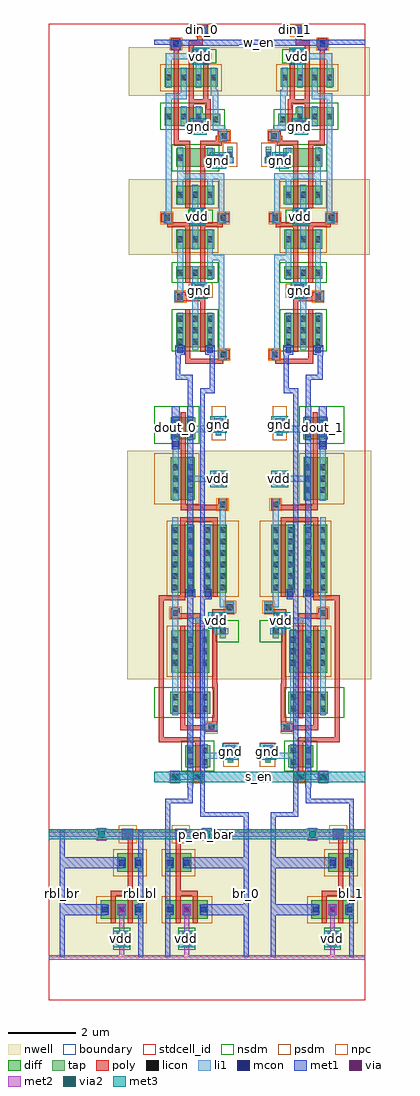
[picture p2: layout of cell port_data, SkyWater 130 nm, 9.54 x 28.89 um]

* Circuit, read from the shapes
.subckt port_data bl_0 bl_1 br_0 br_1 din_0 din_1 dout_0 dout_1 gnd p_en_bar rbl_bl rbl_br s_en vdd w_en
XM1 n1 w_en n2 gnd sky130_fd_pr__nfet_01v8 w=0.55 l=0.15
XM2 n3 n4 n5 gnd sky130_fd_pr__nfet_01v8 w=0.65 l=0.15
XM3 gnd n4 dout_0 gnd sky130_fd_pr__nfet_01v8 w=0.65 l=0.15
XM4 gnd n6 bl_0 gnd sky130_fd_pr__nfet_01v8 w=1 l=0.15
XM5 gnd n2 n7 gnd sky130_fd_pr__nfet_01v8 w=0.36 l=0.15
XM6 n8 w_en n9 gnd sky130_fd_pr__nfet_01v8 w=0.55 l=0.15
XM7 gnd din_0 n1 gnd sky130_fd_pr__nfet_01v8 w=0.55 l=0.15
XM8 gnd s_en n3 gnd sky130_fd_pr__nfet_01v8 w=0.65 l=0.15
XM9 n4 n5 n3 gnd sky130_fd_pr__nfet_01v8 w=0.65 l=0.15
XM10 br_0 n7 gnd gnd sky130_fd_pr__nfet_01v8 w=1 l=0.15
XM11 n6 n9 gnd gnd sky130_fd_pr__nfet_01v8 w=0.36 l=0.15
XM12 gnd n10 n8 gnd sky130_fd_pr__nfet_01v8 w=0.55 l=0.15
XM13 n10 din_0 gnd gnd sky130_fd_pr__nfet_01v8 w=0.36 l=0.15
XM14 gnd din_1 n11 gnd sky130_fd_pr__nfet_01v8 w=0.36 l=0.15
XM15 gnd n12 br_1 gnd sky130_fd_pr__nfet_01v8 w=1 l=0.15
XM16 gnd n13 n14 gnd sky130_fd_pr__nfet_01v8 w=0.36 l=0.15
XM17 n15 n11 gnd gnd sky130_fd_pr__nfet_01v8 w=0.55 l=0.15
XM18 n16 s_en gnd gnd sky130_fd_pr__nfet_01v8 w=0.65 l=0.15
XM19 n16 n17 n18 gnd sky130_fd_pr__nfet_01v8 w=0.65 l=0.15
XM20 n19 din_1 gnd gnd sky130_fd_pr__nfet_01v8 w=0.55 l=0.15
XM21 bl_1 n14 gnd gnd sky130_fd_pr__nfet_01v8 w=1 l=0.15
XM22 n12 n20 gnd gnd sky130_fd_pr__nfet_01v8 w=0.36 l=0.15
XM23 n13 w_en n15 gnd sky130_fd_pr__nfet_01v8 w=0.55 l=0.15
XM24 dout_1 n18 gnd gnd sky130_fd_pr__nfet_01v8 w=0.65 l=0.15
XM25 n17 n18 n16 gnd sky130_fd_pr__nfet_01v8 w=0.65 l=0.15
XM26 n20 w_en n19 gnd sky130_fd_pr__nfet_01v8 w=0.55 l=0.15
XM27 vdd p_en_bar rbl_br vdd sky130_fd_pr__pfet_01v8 w=0.55 l=0.15
XM28 rbl_bl p_en_bar vdd vdd sky130_fd_pr__pfet_01v8 w=0.55 l=0.15
XM29 rbl_bl p_en_bar rbl_br vdd sky130_fd_pr__pfet_01v8 w=0.55 l=0.15
XM30 n2 w_en vdd vdd sky130_fd_pr__pfet_01v8 w=0.55 l=0.15
XM31 vdd p_en_bar bl_0 vdd sky130_fd_pr__pfet_01v8 w=0.55 l=0.15
XM32 br_0 p_en_bar bl_0 vdd sky130_fd_pr__pfet_01v8 w=0.55 l=0.15
XM33 vdd n4 n5 vdd sky130_fd_pr__pfet_01v8 w=1.26 l=0.15
XM34 bl_0 s_en n5 vdd sky130_fd_pr__pfet_01v8 w=2 l=0.15
XM35 vdd n4 dout_0 vdd sky130_fd_pr__pfet_01v8 w=1.26 l=0.15
XM36 vdd n2 n7 vdd sky130_fd_pr__pfet_01v8 w=0.55 l=0.15
XM37 vdd w_en n9 vdd sky130_fd_pr__pfet_01v8 w=0.55 l=0.15
XM38 vdd din_0 n2 vdd sky130_fd_pr__pfet_01v8 w=0.55 l=0.15
XM39 br_0 p_en_bar vdd vdd sky130_fd_pr__pfet_01v8 w=0.55 l=0.15
XM40 n4 n5 vdd vdd sky130_fd_pr__pfet_01v8 w=1.26 l=0.15
XM41 n6 n9 vdd vdd sky130_fd_pr__pfet_01v8 w=0.55 l=0.15
XM42 n9 n10 vdd vdd sky130_fd_pr__pfet_01v8 w=0.55 l=0.15
XM43 n10 din_0 vdd vdd sky130_fd_pr__pfet_01v8 w=0.55 l=0.15
XM44 n4 s_en br_0 vdd sky130_fd_pr__pfet_01v8 w=2 l=0.15
XM45 br_1 s_en n18 vdd sky130_fd_pr__pfet_01v8 w=2 l=0.15
XM46 vdd din_1 n11 vdd sky130_fd_pr__pfet_01v8 w=0.55 l=0.15
XM47 vdd n13 n14 vdd sky130_fd_pr__pfet_01v8 w=0.55 l=0.15
XM48 vdd n11 n13 vdd sky130_fd_pr__pfet_01v8 w=0.55 l=0.15
XM49 vdd n17 n18 vdd sky130_fd_pr__pfet_01v8 w=1.26 l=0.15
XM50 n20 din_1 vdd vdd sky130_fd_pr__pfet_01v8 w=0.55 l=0.15
XM51 n12 n20 vdd vdd sky130_fd_pr__pfet_01v8 w=0.55 l=0.15
XM52 n13 w_en vdd vdd sky130_fd_pr__pfet_01v8 w=0.55 l=0.15
XM53 dout_1 n18 vdd vdd sky130_fd_pr__pfet_01v8 w=1.26 l=0.15
XM54 n17 n18 vdd vdd sky130_fd_pr__pfet_01v8 w=1.26 l=0.15
XM55 n17 s_en bl_1 vdd sky130_fd_pr__pfet_01v8 w=2 l=0.15
XM56 vdd w_en n20 vdd sky130_fd_pr__pfet_01v8 w=0.55 l=0.15
XM57 vdd p_en_bar br_1 vdd sky130_fd_pr__pfet_01v8 w=0.55 l=0.15
XM58 bl_1 p_en_bar vdd vdd sky130_fd_pr__pfet_01v8 w=0.55 l=0.15
XM59 bl_1 p_en_bar br_1 vdd sky130_fd_pr__pfet_01v8 w=0.55 l=0.15
.ends

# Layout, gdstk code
from math import pi, radians
import gdstk
lib = gdstk.Library(unit=1e-6, precision=1e-09)
def R(c, l, rs):  # rectangles x0, y0, x1, y1
    for r in rs: c.add(gdstk.rectangle(r[:2], r[2:], *l))
def A(c, l, x, y, w, h, nx, ny, dx, dy):  # array of equal rectangles
    R(c, l, [(x+i*dx, y+j*dy, x+i*dx+w, y+j*dy+h) for i in range(nx) for j in range(ny)])
nwell = (64, 20)
diff = (65, 20)
tap = (65, 44)
poly = (66, 20)
licon = (66, 44)
li1 = (67, 20)
mcon = (67, 44)
met1 = (68, 20)
via = (68, 44)
met2 = (69, 20)
via2 = (69, 44)
met3 = (70, 20)
stdcell_id = (81, 4)
nsdm = (93, 44)
psdm = (94, 20)
npc = (95, 20)
boundary = (235, 4)

contact_11 = lib.new_cell('contact_11')
R(contact_11, nwell, [(-0.295,-0.255,0.545,0.585)])
R(contact_11, diff, [(0,0.02,0.25,0.31)])
R(contact_11, licon, [(0.04,0.08,0.21,0.25)])
R(contact_11, li1, [(0.04,0,0.21,0.33)])
R(contact_11, stdcell_id, [(-0.295,-0.255,0.545,0.585)])
R(contact_11, psdm, [(-0.125,-0.105,0.375,0.435)])
R(contact_11, boundary, [(-0.295,-0.255,0.545,0.585)])

pmos_m1_w0_550_sli_dli = lib.new_cell('pmos_m1_w0_550_sli_dli')
R(pmos_m1_w0_550_sli_dli, nwell, [(-0.27,-0.27,1.02,0.82)])
R(pmos_m1_w0_550_sli_dli, diff, [(0,0,0.75,0.55)])
R(pmos_m1_w0_550_sli_dli, poly, [(0.3,-0.13,0.45,0.68), (0.3,-0.13,0.45,0.68)])
R(pmos_m1_w0_550_sli_dli, li1, [(0.04,0.11,0.21,0.44), (0.54,0.11,0.71,0.44)])
R(pmos_m1_w0_550_sli_dli, stdcell_id, [(-0.27,-0.27,1.02,0.82)])
R(pmos_m1_w0_550_sli_dli, psdm, [(-0.125,-0.125,0.875,0.675)])
R(pmos_m1_w0_550_sli_dli, boundary, [(-0.27,-0.27,1.02,0.82)])
pmos_m1_w0_550_sli_dli.add(gdstk.Reference(contact_11, (0,0.11)))
pmos_m1_w0_550_sli_dli.add(gdstk.Reference(contact_11, (0.5,0.11)))
pmos_m1_w0_550_sli_dli.add(gdstk.Label('S', (0.125,0.275), layer=67, texttype=16))
pmos_m1_w0_550_sli_dli.add(gdstk.Label('G', (0.375,0.275), layer=66, texttype=16))
pmos_m1_w0_550_sli_dli.add(gdstk.Label('D', (0.625,0.275), layer=67, texttype=16))

contact_12 = lib.new_cell('contact_12')
R(contact_12, poly, [(0,0,0.33,0.33)])
R(contact_12, licon, [(0.08,0.08,0.25,0.25)])
R(contact_12, li1, [(0.08,0,0.25,0.33)])
R(contact_12, stdcell_id, [(-0.1,-0.1,0.43,0.43)])
R(contact_12, npc, [(-0.1,-0.1,0.43,0.43)])
R(contact_12, boundary, [(-0.1,-0.1,0.43,0.43)])

contact_7 = lib.new_cell('contact_7')
R(contact_7, li1, [(0.06,0,0.23,0.33)])
R(contact_7, mcon, [(0.06,0.08,0.23,0.25)])
R(contact_7, met1, [(0,0.05,0.29,0.28)])
R(contact_7, stdcell_id, [(0,0,0.29,0.33)])
R(contact_7, boundary, [(0,0,0.29,0.33)])

contact_8 = lib.new_cell('contact_8')
R(contact_8, met1, [(0,0.03,0.32,0.29)])
R(contact_8, via, [(0.085,0.085,0.235,0.235)])
R(contact_8, met2, [(0.03,0,0.29,0.32)])
R(contact_8, stdcell_id, [(0,0,0.32,0.32)])
R(contact_8, boundary, [(0,0,0.32,0.32)])

contact_13 = lib.new_cell('contact_13')
R(contact_13, nwell, [(-0.295,-0.215,0.545,0.625)])
R(contact_13, tap, [(0,0,0.25,0.41)])
R(contact_13, licon, [(0.04,0.12,0.21,0.29)])
R(contact_13, li1, [(0.04,0.04,0.21,0.37)])
R(contact_13, stdcell_id, [(-0.295,-0.215,0.545,0.625)])
R(contact_13, nsdm, [(-0.125,-0.125,0.375,0.535)])
R(contact_13, boundary, [(-0.295,-0.215,0.545,0.625)])

contact_14 = lib.new_cell('contact_14')
R(contact_14, met1, [(0,0,0.26,0.32)])
R(contact_14, via, [(0.055,0.085,0.205,0.235)])
R(contact_14, met2, [(0,0,0.26,0.32)])
R(contact_14, stdcell_id, [(0,0,0.26,0.32)])
R(contact_14, boundary, [(0,0,0.26,0.32)])

contact_15 = lib.new_cell('contact_15')
R(contact_15, met2, [(0.025,0,0.305,0.37)])
R(contact_15, via2, [(0.065,0.085,0.265,0.285)])
R(contact_15, met3, [(0,0.02,0.33,0.35)])
R(contact_15, stdcell_id, [(0,0,0.33,0.37)])
R(contact_15, boundary, [(0,0,0.33,0.37)])

contact_16 = lib.new_cell('contact_16')
R(contact_16, li1, [(0.03,0,0.2,0.33)])
R(contact_16, mcon, [(0.03,0.08,0.2,0.25)])
R(contact_16, met1, [(0,0.02,0.23,0.31)])
R(contact_16, stdcell_id, [(0,0,0.23,0.33)])
R(contact_16, boundary, [(0,0,0.23,0.33)])

precharge_0 = lib.new_cell('precharge_0')
R(precharge_0, nwell, [(0,0,3.12,3.77)])
R(precharge_0, poly, [(0.64,0.05,0.79,0.2), (0.715,0.05,0.79,0.2), (0.64,0.125,0.79,0.56), (0.64,1.37,0.79,1.95), (0.64,1.8,1.29,1.95)])
R(precharge_0, met1, [(0.63,-0.005,0.95,0.255), (0.33,0,0.47,3.77), (0.33,0,0.47,3.77), (2.65,0,2.79,3.77), (2.65,0,2.79,3.77), (0.4,0.8,0.465,1.13), (0.965,0.8,2.72,1.13), (0.4,2.19,0.465,2.52), (1.465,2.19,2.72,2.52), (0.835,2.195,1.095,2.515)])
R(precharge_0, met2, [(0,0.055,3.12,0.195), (0.895,2.355,1.035,3.77), (0.825,3.1,1.105,3.34), (0,3.7,3.12,3.84)])
R(precharge_0, met3, [(0.72,2.975,1.21,3.465)])
R(precharge_0, stdcell_id, [(0,0,3.12,3.77)])
R(precharge_0, boundary, [(0,0,3.12,3.77)])
precharge_0.add(gdstk.Reference(pmos_m1_w0_550_sli_dli, (0.34,0.69)))
precharge_0.add(gdstk.Reference(pmos_m1_w0_550_sli_dli, (0.34,2.08)))
precharge_0.add(gdstk.Reference(pmos_m1_w0_550_sli_dli, (0.84,2.08)))
precharge_0.add(gdstk.Reference(contact_12, (0.625,-0.04)))
precharge_0.add(gdstk.Reference(contact_7, (0.645,-0.04)))
precharge_0.add(gdstk.Reference(contact_8, (0.63,-0.035)))
precharge_0.add(gdstk.Reference(contact_13, (0.84,3.015)))
precharge_0.add(gdstk.Reference(contact_7, (0.82,3.055)))
precharge_0.add(gdstk.Reference(contact_14, (0.835,3.06)))
precharge_0.add(gdstk.Reference(contact_15, (0.8,3.035)))
precharge_0.add(gdstk.Reference(contact_16, (0.85,2.19)))
precharge_0.add(gdstk.Reference(contact_14, (0.835,2.195)))
precharge_0.add(gdstk.Reference(contact_16, (0.35,0.8)))
precharge_0.add(gdstk.Reference(contact_16, (0.85,0.8)))
precharge_0.add(gdstk.Reference(contact_16, (0.35,2.19)))
precharge_0.add(gdstk.Reference(contact_16, (1.35,2.19)))
precharge_0.add(gdstk.Label('bl', (0.4,1.885), layer=68, texttype=16))
precharge_0.add(gdstk.Label('br', (2.72,1.885), layer=68, texttype=16))
precharge_0.add(gdstk.Label('en_bar', (1.56,0.125), layer=69, texttype=16))
precharge_0.add(gdstk.Label('vdd', (0.965,3.22), layer=70, texttype=16))

contact_9 = lib.new_cell('contact_9')
R(contact_9, met2, [(0.025,0,0.305,0.37)])
R(contact_9, via2, [(0.065,0.085,0.265,0.285)])
R(contact_9, met3, [(0,0.02,0.33,0.35)])
R(contact_9, stdcell_id, [(0,0,0.33,0.37)])
R(contact_9, boundary, [(0,0,0.33,0.37)])

precharge_array = lib.new_cell('precharge_array')
R(precharge_array, met1, [(0.33,0,0.47,3.77), (2.65,0,2.79,3.77), (3.45,0,3.59,3.77), (5.77,0,5.91,3.77), (6.57,0,6.71,3.77), (8.89,0,9.03,3.77)])
R(precharge_array, met3, [(0,-0.025,9.36,0.275), (1.91,2.975,2.4,3.465), (3.84,2.975,4.33,3.465), (8.15,2.975,8.64,3.465)])
R(precharge_array, stdcell_id, [(0,0,9.36,3.77)])
R(precharge_array, boundary, [(0,0,9.36,3.77)])
precharge_array.add(gdstk.Reference(precharge_0, (3.12,0), rotation=pi, x_reflection=True))
precharge_array.add(gdstk.Reference(precharge_0, (3.12,0)))
precharge_array.add(gdstk.Reference(precharge_0, (9.36,0), rotation=pi, x_reflection=True))
precharge_array.add(gdstk.Reference(contact_9, (1.395,-0.06)))
precharge_array.add(gdstk.Reference(contact_9, (4.515,-0.06)))
precharge_array.add(gdstk.Reference(contact_9, (7.635,-0.06)))
precharge_array.add(gdstk.Label('br_2', (6.64,1.885), layer=68, texttype=16))
precharge_array.add(gdstk.Label('br_0', (0.4,1.885), layer=68, texttype=16))
precharge_array.add(gdstk.Label('en_bar', (4.68,0.125), layer=70, texttype=16))
precharge_array.add(gdstk.Label('bl_0', (2.72,1.885), layer=68, texttype=16))
precharge_array.add(gdstk.Label('bl_2', (8.96,1.885), layer=68, texttype=16))
precharge_array.add(gdstk.Label('br_1', (5.84,1.885), layer=68, texttype=16))
precharge_array.add(gdstk.Label('bl_1', (3.52,1.885), layer=68, texttype=16))
precharge_array.add(gdstk.Label('vdd', (2.155,3.22), layer=70, texttype=16))
precharge_array.add(gdstk.Label('vdd', (4.085,3.22), layer=70, texttype=16))
precharge_array.add(gdstk.Label('vdd', (8.395,3.22), layer=70, texttype=16))

sense_amp = lib.new_cell('sense_amp')
R(sense_amp, nwell, [(-0.8,1.32,3.42,2.62), (-0.8,2.62,3.41,8.07)])
R(sense_amp, diff, [(0.49,0.33,1.21,0.98), (0.49,1.51,1.2,2.77), (0.5,3.51,1.19,5.51), (1.46,3.51,2.15,5.51), (0.5,6.62,1.63,7.88), (0.48,8.445,1.65,9.095), (0.92,10.025,1.65,10.675)])
R(sense_amp, tap, [(1.82,0.415,1.99,0.875), (1.94,6.45,2.11,6.86), (2.17,10.085,2.34,10.545)])
R(sense_amp, poly, [(0.78,0.18,0.93,2.92), (1.89,2.74,2.16,2.92), (0.78,2.92,2.16,3.07), (0.77,3.28,1.88,3.43), (0.77,3.43,0.92,5.59), (1.73,3.43,1.88,5.64), (0.13,5.59,0.92,5.74), (0.13,5.74,0.28,9.795), (2.15,5.78,2.37,5.79), (2.1,5.79,2.37,6.01), (0.54,5.95,0.71,5.98), (0.49,5.98,0.76,6.13), (1.71,6.01,2.37,6.16), (0.49,6.13,1.36,6.28), (1.71,6.16,1.86,8.21), (1.21,6.28,1.36,9.225), (0.77,6.49,0.92,9.435), (1.71,8.21,1.88,8.38), (1.725,8.38,1.875,9.14), (1.71,9.14,1.88,9.31), (1.71,9.31,1.86,9.365), (1.53,9.365,1.86,9.435), (0.77,9.435,1.86,9.585), (1.53,9.585,1.86,9.635), (0.13,9.795,1.36,9.945), (1.21,9.945,1.36,10.8), (1.2,10.8,1.37,10.83), (1.15,10.83,1.42,11.1), (1.2,11.1,1.37,11.13)])
A(sense_amp, licon, 0.55, 1.715, 0.17, 0.17, 1, 3, 0, 0.34)
A(sense_amp, licon, 0.99, 1.715, 0.17, 0.17, 1, 3, 0, 0.34)
A(sense_amp, licon, 0.54, 3.575, 0.17, 0.17, 1, 6, 0, 0.34)
A(sense_amp, licon, 0.98, 3.575, 0.17, 0.17, 1, 6, 0, 0.34)
A(sense_amp, licon, 1.5, 3.575, 0.17, 0.17, 1, 6, 0, 0.34)
A(sense_amp, licon, 1.94, 3.575, 0.17, 0.17, 1, 6, 0, 0.34)
A(sense_amp, licon, 0.54, 6.825, 0.17, 0.17, 3, 3, 0.44, 0.34)
A(sense_amp, licon, 0.54, 8.525, 0.17, 0.17, 3, 2, 0.44, 0.34)
R(sense_amp, licon, [(0.55,0.4,0.72,0.57), (0.99,0.4,1.16,0.57), (1.82,0.585,1.99,0.755), (0.55,0.74,0.72,0.91), (0.99,0.74,1.16,0.91), (1.94,2.82,2.11,2.99), (2.15,5.86,2.32,6.03), (0.54,6.03,0.71,6.2), (1.94,6.57,2.11,6.74), (1.61,9.415,1.78,9.585), (0.98,10.09,1.15,10.26), (1.42,10.1,1.59,10.27), (2.17,10.255,2.34,10.425), (0.98,10.43,1.15,10.6), (1.42,10.44,1.59,10.61), (1.2,10.88,1.37,11.05)])
R(sense_amp, li1, [(0.55,0.3,0.72,2.79), (0.98,0.3,1.16,0.58), (1.82,0.415,1.99,0.58), (0.98,0.58,1.99,0.76), (0.98,0.76,1.16,1), (1.82,0.76,1.99,0.835), (0.99,1.49,1.16,2.06), (0.99,2.06,1.99,2.23), (0.99,2.23,1.16,2.79), (1.94,2.74,2.11,5.78), (0.54,3.28,0.71,9.15), (0.98,3.47,1.15,5.62), (1.5,3.49,1.67,5.65), (1.94,5.78,2.37,5.95), (2.1,5.95,2.37,6.11), (0.98,6.26,1.93,6.43), (0.98,6.43,1.15,7.9), (1.76,6.43,1.93,6.57), (1.76,6.57,2.19,6.74), (1.42,6.6,1.59,9.415), (0.98,8.425,1.15,10.71), (1.42,9.415,1.87,9.585), (1.42,10.005,1.59,10.255), (2.17,10.085,2.34,10.255), (1.42,10.255,2.34,10.425), (1.42,10.425,1.59,10.71), (2.17,10.425,2.34,10.505), (0.53,10.88,1.45,11.05), (0.53,11.05,0.7,11.06)])
R(sense_amp, mcon, [(1.82,0.415,1.99,0.585), (0.55,1.04,0.72,1.21), (1.82,2.06,1.99,2.23), (0.98,5.45,1.15,5.62), (1.5,5.48,1.67,5.65), (1.76,6.26,1.93,6.43), (2.17,10.085,2.34,10.255), (0.53,10.885,0.7,11.055)])
R(sense_amp, met1, [(0.52,0,0.75,1.27), (0.52,0,0.75,1.27), (0.98,0,1.15,5.42), (1.36,0,1.5,5.42), (1.79,0.355,2.02,0.725), (1.79,0.355,2.02,0.725), (1.79,1.96,2.02,2.34), (1.79,1.96,2.02,2.34), (0.92,5.42,1.21,5.65), (1.36,5.42,1.7,5.71), (0.98,5.65,1.15,11.28), (0.98,5.65,1.15,11.28), (1.36,5.71,1.5,11.28), (1.36,5.71,1.5,11.28), (1.69,6.17,2,6.51), (1.69,6.17,2,6.51), (2.14,10.025,2.37,10.395), (2.14,10.025,2.37,10.395), (0.47,10.82,0.76,11.12), (0.47,10.82,0.76,11.12)])
R(sense_amp, nsdm, [(0,0,1.335,1.105), (1.815,6.325,2.5,6.985), (0,8.32,1.775,9.22), (0.795,9.9,1.775,10.8)])
R(sense_amp, psdm, [(1.695,0,2.115,1), (0,1.385,1.325,2.895), (0.375,3.385,2.5,5.635), (0.375,6.495,1.755,8.005), (2.045,9.96,2.5,10.67)])
R(sense_amp, npc, [(1.84,2.72,2.21,3.09), (2.05,5.76,2.42,6.13), (0.44,5.93,0.81,6.3), (1.51,9.315,1.88,9.685), (1.1,10.78,1.47,11.15)])
R(sense_amp, boundary, [(0,0,2.5,11.28)])
sense_amp.add(gdstk.Label('vdd', (1.97,6.34), layer=68, texttype=16))
sense_amp.add(gdstk.Label('gnd', (2.25,10.055), layer=68, texttype=16))
sense_amp.add(gdstk.Label('bl', (1.07,11.24), layer=68, texttype=16))
sense_amp.add(gdstk.Label('br', (1.43,11.23), layer=68, texttype=16))
sense_amp.add(gdstk.Label('dout', (0.615,0.14), layer=68, texttype=16))
sense_amp.add(gdstk.Label('gnd', (1.9,0.385), layer=68, texttype=16))
sense_amp.add(gdstk.Label('vdd', (1.89,2), layer=68, texttype=16))
sense_amp.add(gdstk.Label('en', (0.5,10.95), layer=68, texttype=16))
sense_amp.add(gdstk.Label('gnd', (2.255,10.21), layer=68, texttype=16))
sense_amp.add(gdstk.Label('gnd', (1.905,0.54), layer=68, texttype=16))
sense_amp.add(gdstk.Label('bl', (1.065,8.465), layer=68, texttype=16))
sense_amp.add(gdstk.Label('br', (1.43,8.495), layer=68, texttype=16))
sense_amp.add(gdstk.Label('en', (0.615,10.97), layer=68, texttype=16))
sense_amp.add(gdstk.Label('dout', (0.635,0.635), layer=68, texttype=16))
sense_amp.add(gdstk.Label('vdd', (1.845,6.34), layer=68, texttype=16))
sense_amp.add(gdstk.Label('vdd', (1.905,2.15), layer=68, texttype=16))

sense_amp_array = lib.new_cell('sense_amp_array')
R(sense_amp_array, met1, [(0.52,0,0.75,1.27), (4.87,0,5.1,1.27), (0.98,5.65,1.15,11.28), (4.47,5.65,4.64,11.28), (1.36,5.71,1.5,11.28), (4.12,5.71,4.26,11.28)])
R(sense_amp_array, met2, [(1.765,0.42,2.045,0.66), (3.575,0.42,3.855,0.66), (1.765,2.03,2.045,2.27), (3.575,2.03,3.855,2.27), (1.705,6.22,1.985,6.46), (3.635,6.22,3.915,6.46), (2.115,10.09,2.395,10.33), (3.225,10.09,3.505,10.33), (0.475,10.85,0.755,11.09), (4.865,10.85,5.145,11.09)])
R(sense_amp_array, met3, [(1.66,0.295,2.15,0.785), (3.47,0.295,3.96,0.785), (1.66,1.905,2.15,2.395), (3.47,1.905,3.96,2.395), (1.6,6.095,2.09,6.585), (3.53,6.095,4.02,6.585), (2.01,9.965,2.5,10.455), (3.12,9.965,3.61,10.455), (0,10.82,6.24,11.12)])
R(sense_amp_array, stdcell_id, [(0,0,6.24,11.28)])
R(sense_amp_array, boundary, [(0,0,6.24,11.28)])
sense_amp_array.add(gdstk.Reference(sense_amp, (0,0)))
sense_amp_array.add(gdstk.Reference(sense_amp, (5.62,0), rotation=pi, x_reflection=True))
sense_amp_array.add(gdstk.Reference(contact_14, (2.125,10.05)))
sense_amp_array.add(gdstk.Reference(contact_15, (2.09,10.025)))
sense_amp_array.add(gdstk.Reference(contact_14, (1.775,0.38)))
sense_amp_array.add(gdstk.Reference(contact_15, (1.74,0.355)))
sense_amp_array.add(gdstk.Reference(contact_14, (1.715,6.18)))
sense_amp_array.add(gdstk.Reference(contact_15, (1.68,6.155)))
sense_amp_array.add(gdstk.Reference(contact_14, (1.775,1.99)))
sense_amp_array.add(gdstk.Reference(contact_15, (1.74,1.965)))
sense_amp_array.add(gdstk.Reference(contact_14, (3.235,10.05)))
sense_amp_array.add(gdstk.Reference(contact_15, (3.2,10.025)))
sense_amp_array.add(gdstk.Reference(contact_14, (3.585,0.38)))
sense_amp_array.add(gdstk.Reference(contact_15, (3.55,0.355)))
sense_amp_array.add(gdstk.Reference(contact_14, (3.645,6.18)))
sense_amp_array.add(gdstk.Reference(contact_15, (3.61,6.155)))
sense_amp_array.add(gdstk.Reference(contact_14, (3.585,1.99)))
sense_amp_array.add(gdstk.Reference(contact_15, (3.55,1.965)))
sense_amp_array.add(gdstk.Reference(contact_8, (0.455,10.81)))
sense_amp_array.add(gdstk.Reference(contact_9, (0.45,10.785)))
sense_amp_array.add(gdstk.Reference(contact_8, (4.845,10.81)))
sense_amp_array.add(gdstk.Reference(contact_9, (4.84,10.785)))
sense_amp_array.add(gdstk.Label('data_0', (0.635,0.635), layer=68, texttype=16))
sense_amp_array.add(gdstk.Label('gnd', (2.255,10.21), layer=70, texttype=16))
sense_amp_array.add(gdstk.Label('gnd', (3.365,10.21), layer=70, texttype=16))
sense_amp_array.add(gdstk.Label('gnd', (3.715,0.54), layer=70, texttype=16))
sense_amp_array.add(gdstk.Label('gnd', (1.905,0.54), layer=70, texttype=16))
sense_amp_array.add(gdstk.Label('bl_1', (4.555,8.465), layer=68, texttype=16))
sense_amp_array.add(gdstk.Label('bl_0', (1.065,8.465), layer=68, texttype=16))
sense_amp_array.add(gdstk.Label('en', (3.12,10.97), layer=70, texttype=16))
sense_amp_array.add(gdstk.Label('br_1', (4.19,8.495), layer=68, texttype=16))
sense_amp_array.add(gdstk.Label('br_0', (1.43,8.495), layer=68, texttype=16))
sense_amp_array.add(gdstk.Label('vdd', (1.905,2.15), layer=70, texttype=16))
sense_amp_array.add(gdstk.Label('vdd', (1.845,6.34), layer=70, texttype=16))
sense_amp_array.add(gdstk.Label('vdd', (3.715,2.15), layer=70, texttype=16))
sense_amp_array.add(gdstk.Label('vdd', (3.775,6.34), layer=70, texttype=16))
sense_amp_array.add(gdstk.Label('data_1', (4.985,0.635), layer=68, texttype=16))

write_driver = lib.new_cell('write_driver')
R(write_driver, nwell, [(-0.76,0.69,3.28,2.11), (-0.76,2.11,3.27,2.12), (-0.76,4.6,3.28,6.83)])
R(write_driver, diff, [(0.305,1.31,1.88,1.86), (0.305,2.46,1.435,2.65), (0.305,2.65,1.955,3.01), (0.645,3.68,1.795,4.23), (0.645,4.78,1.78,5.33), (0.645,6.095,1.775,6.645), (0.645,7.175,1.775,7.535), (0.645,8.565,1.775,9.565)])
R(write_driver, tap, [(1.245,0.87,1.705,1.04), (2.155,3.64,2.325,4.1), (1.125,5.62,1.605,5.79), (1.145,7.805,1.605,7.975)])
R(write_driver, poly, [(1.275,0.02,1.585,0.32), (1.275,0.32,1.435,0.5), (0.505,0.42,0.775,0.74), (1.015,0.5,1.435,0.65), (1.015,0.65,1.165,2.23), (0.505,0.74,0.725,0.75), (0.575,0.75,0.725,3.45), (1.455,1.18,1.605,2.23), (1.015,2.23,1.665,2.38), (1.015,2.38,1.165,3.14), (1.515,2.38,1.665,3.14), (1.875,3.18,2.245,3.3), (1.825,3.3,2.245,3.45), (0.575,3.45,1.065,3.6), (1.355,3.45,1.995,3.6), (0.915,3.6,1.065,5.46), (1.355,3.6,1.505,5.46), (0.205,5.6,0.54,5.87), (1.885,5.6,2.215,5.72), (1.88,5.72,2.215,5.87), (0.39,5.87,1.065,6.02), (1.355,5.87,2.03,6.02), (0.915,6.02,1.065,7.665), (1.355,6.02,1.505,7.665), (0.605,7.925,0.935,8.055), (0.605,8.055,1.505,8.205), (1.355,8.205,1.505,9.695), (0.915,8.435,1.065,9.905), (1.895,9.645,2.225,9.905), (0.915,9.905,2.225,9.915), (0.915,9.915,2.045,10.055)])
A(write_driver, licon, 0.345, 1.5, 0.17, 0.17, 4, 1, 0.44, 0)
A(write_driver, licon, 0.345, 2.65, 0.17, 0.17, 3, 1, 0.44, 0)
A(write_driver, licon, 0.685, 4.97, 0.17, 0.17, 3, 2, 0.44, 1.315)
A(write_driver, licon, 0.685, 7.275, 0.17, 0.17, 3, 2, 0.44, 1.365)
A(write_driver, licon, 0.685, 8.98, 0.17, 0.17, 3, 2, 0.44, 0.34)
R(write_driver, licon, [(1.335,0.1,1.505,0.27), (0.555,0.5,0.725,0.67), (1.395,0.87,1.565,1.04), (1.725,2.745,1.895,2.915), (1.995,3.23,2.165,3.4), (2.155,3.78,2.325,3.95), (0.685,3.87,0.855,4.04), (1.565,3.87,1.735,4.04), (1.295,5.62,1.465,5.79), (0.285,5.65,0.455,5.82), (1.965,5.65,2.135,5.82), (1.295,7.805,1.465,7.975), (0.685,7.985,0.855,8.155), (1.975,9.695,2.145,9.865)])
R(write_driver, li1, [(1.255,0.1,1.585,0.27), (0.47,0.5,0.805,0.67), (1.225,0.84,1.395,0.87), (0.345,0.87,1.645,1.04), (0.345,1.04,0.515,1.88), (1.225,1.04,1.395,1.88), (0.785,1.29,0.955,2.05), (1.665,1.29,1.835,1.95), (1.665,1.95,1.895,2.12), (0.345,2.05,0.955,2.22), (1.725,2.12,1.895,2.89), (0.345,2.22,0.515,5.57), (0.785,2.44,0.955,3.03), (1.225,2.44,1.395,3.12), (1.725,2.89,1.955,2.99), (1.725,2.99,2.105,3.11), (1.725,3.11,2.165,3.16), (1.935,3.16,2.165,3.49), (0.685,3.65,0.855,4.42), (1.565,3.66,1.735,3.95), (2.155,3.7,2.325,3.95), (1.565,3.95,2.355,4.12), (1.565,4.12,1.735,4.25), (0.685,4.42,2.075,4.59), (0.685,4.59,0.855,5.35), (1.565,4.59,1.735,5.35), (1.905,4.59,2.075,5.57), (1.125,4.76,1.295,5.62), (0.285,5.57,0.515,5.9), (1.905,5.57,2.135,5.9), (1.125,5.62,1.545,5.79), (1.125,5.79,1.295,6.665), (0.685,6.08,0.855,7.9), (1.565,6.08,1.735,6.825), (1.565,6.825,2.075,6.995), (1.565,6.995,1.735,7.565), (1.905,6.995,2.075,9.615), (1.125,7.165,1.295,7.805), (1.125,7.805,1.545,7.975), (0.585,7.9,0.855,8.235), (1.125,7.975,1.295,9.635), (0.685,8.545,0.855,9.735), (1.565,8.545,1.735,9.735), (1.905,9.615,2.145,9.945)])
R(write_driver, mcon, [(1.335,0.1,1.505,0.27), (0.555,0.5,0.725,0.67), (1.225,0.87,1.395,1.04), (1.225,2.95,1.395,3.12), (1.8,3.95,1.97,4.12), (1.125,5.62,1.295,5.79), (1.125,7.805,1.295,7.975), (0.685,9.565,0.855,9.735), (1.565,9.565,1.735,9.735)])
R(write_driver, met1, [(1.275,0.02,1.575,0.3), (1.275,0.02,1.575,0.3), (0.495,0.47,2.5,0.64), (0.495,0.47,2.5,0.64), (0.495,0.64,0.785,0.78), (1.165,0.84,1.595,1.07), (1.165,0.84,1.595,1.07), (1.095,2.92,1.525,3.15), (1.095,2.92,1.525,3.15), (1.735,3.92,2.1,3.945), (1.67,3.945,2.1,4.15), (1.67,3.945,2.1,4.15), (1.065,5.59,1.495,5.82), (1.065,5.59,1.495,5.82), (1.065,7.775,1.495,7.805), (1.065,7.805,1.605,7.975), (1.065,7.805,1.605,7.975), (1.065,7.975,1.495,8.005), (0.625,9.505,0.91,9.795), (1.51,9.505,1.795,9.795), (0.63,9.795,0.78,10.055), (0.63,9.795,0.78,10.055), (1.64,9.795,1.79,10.055), (1.64,9.795,1.79,10.055)])
R(write_driver, stdcell_id, [(0,0,2.5,10.055)])
R(write_driver, nsdm, [(1.12,0.745,1.83,1.165), (0.18,2.335,1.56,2.525), (0.18,2.525,2.08,3.135), (0.52,3.555,1.92,4.355), (1,5.495,1.73,5.915), (0.52,7.05,1.9,7.66), (0.52,8.44,1.9,9.69)])
R(write_driver, psdm, [(0.18,1.185,2.005,1.985), (2.03,3.515,2.45,4.225), (0.52,4.655,1.905,5.455), (0.52,5.97,1.9,6.77), (1.02,7.68,1.73,8.1)])
R(write_driver, npc, [(1.235,0,1.605,0.37), (0.455,0.4,0.825,0.77), (1.895,3.13,2.265,3.5), (0.185,5.55,0.555,5.92), (1.865,5.55,2.235,5.92), (0.585,7.885,0.955,8.255), (1.875,9.595,2.245,9.965)])
R(write_driver, boundary, [(0,0,2.5,10.055)])
write_driver.add(gdstk.Label('en', (0.53,0.59), layer=68, texttype=16))
write_driver.add(gdstk.Label('vdd', (1.48,1.05), layer=68, texttype=16))
write_driver.add(gdstk.Label('din', (1.425,0.06), layer=68, texttype=16))
write_driver.add(gdstk.Label('gnd', (1.31,3.13), layer=68, texttype=16))
write_driver.add(gdstk.Label('gnd', (1.965,4.135), layer=68, texttype=16))
write_driver.add(gdstk.Label('vdd', (1.1,5.7), layer=68, texttype=16))
write_driver.add(gdstk.Label('br', (1.7,9.865), layer=68, texttype=16))
write_driver.add(gdstk.Label('bl', (0.7,9.905), layer=68, texttype=16))
write_driver.add(gdstk.Label('gnd', (1.1,7.885), layer=68, texttype=16))
write_driver.add(gdstk.Label('gnd', (1.31,3.035), layer=68, texttype=16))
write_driver.add(gdstk.Label('gnd', (1.885,4.048), layer=68, texttype=16))
write_driver.add(gdstk.Label('gnd', (1.335,7.89), layer=68, texttype=16))
write_driver.add(gdstk.Label('bl', (0.705,9.925), layer=68, texttype=16))
write_driver.add(gdstk.Label('br', (1.715,9.925), layer=68, texttype=16))
write_driver.add(gdstk.Label('en', (1.498,0.555), layer=68, texttype=16))
write_driver.add(gdstk.Label('din', (1.425,0.16), layer=68, texttype=16))
write_driver.add(gdstk.Label('vdd', (1.38,0.955), layer=68, texttype=16))
write_driver.add(gdstk.Label('vdd', (1.28,5.705), layer=68, texttype=16))

write_driver_array = lib.new_cell('write_driver_array')
R(write_driver_array, met1, [(1.275,0.02,1.575,0.3), (4.045,0.02,4.345,0.3), (0,0.47,6.24,0.61), (0.63,9.795,0.78,10.055), (1.64,9.795,1.79,10.055), (3.83,9.795,3.98,10.055), (4.84,9.795,4.99,10.055)])
R(write_driver_array, met2, [(1.24,0.835,1.52,1.075), (4.1,0.835,4.38,1.075), (1.17,2.915,1.45,3.155), (4.17,2.915,4.45,3.155), (1.745,3.925,2.025,4.165), (3.595,3.925,3.875,4.165), (1.14,5.585,1.42,5.825), (4.2,5.585,4.48,5.825), (1.195,7.77,1.475,8.01), (4.145,7.77,4.425,8.01)])
R(write_driver_array, met3, [(1.135,0.71,1.625,1.2), (3.995,0.71,4.485,1.2), (1.065,2.79,1.555,3.28), (4.065,2.79,4.555,3.28), (1.64,3.8,2.13,4.29), (3.49,3.8,3.98,4.29), (1.035,5.46,1.525,5.95), (4.095,5.46,4.585,5.95), (1.09,7.645,1.58,8.135), (4.04,7.645,4.53,8.135)])
R(write_driver_array, stdcell_id, [(0,0,6.24,10.055)])
R(write_driver_array, boundary, [(0,0,6.24,10.055)])
write_driver_array.add(gdstk.Reference(write_driver, (0,0)))
write_driver_array.add(gdstk.Reference(write_driver, (5.62,0), rotation=pi, x_reflection=True))
write_driver_array.add(gdstk.Reference(contact_14, (1.25,0.795)))
write_driver_array.add(gdstk.Reference(contact_15, (1.215,0.77)))
write_driver_array.add(gdstk.Reference(contact_14, (1.15,5.545)))
write_driver_array.add(gdstk.Reference(contact_15, (1.115,5.52)))
write_driver_array.add(gdstk.Reference(contact_14, (1.18,2.875)))
write_driver_array.add(gdstk.Reference(contact_15, (1.145,2.85)))
write_driver_array.add(gdstk.Reference(contact_14, (1.755,3.89)))
write_driver_array.add(gdstk.Reference(contact_15, (1.72,3.86)))
write_driver_array.add(gdstk.Reference(contact_14, (1.205,7.73)))
write_driver_array.add(gdstk.Reference(contact_15, (1.17,7.705)))
write_driver_array.add(gdstk.Reference(contact_14, (4.11,0.795)))
write_driver_array.add(gdstk.Reference(contact_15, (4.075,0.77)))
write_driver_array.add(gdstk.Reference(contact_14, (4.21,5.545)))
write_driver_array.add(gdstk.Reference(contact_15, (4.175,5.52)))
write_driver_array.add(gdstk.Reference(contact_14, (4.18,2.875)))
write_driver_array.add(gdstk.Reference(contact_15, (4.145,2.85)))
write_driver_array.add(gdstk.Reference(contact_14, (3.605,3.89)))
write_driver_array.add(gdstk.Reference(contact_15, (3.57,3.86)))
write_driver_array.add(gdstk.Reference(contact_14, (4.155,7.73)))
write_driver_array.add(gdstk.Reference(contact_15, (4.12,7.705)))
write_driver_array.add(gdstk.Label('data_0', (1.425,0.16), layer=68, texttype=16))
write_driver_array.add(gdstk.Label('gnd', (1.335,7.89), layer=70, texttype=16))
write_driver_array.add(gdstk.Label('gnd', (1.885,4.045), layer=70, texttype=16))
write_driver_array.add(gdstk.Label('gnd', (4.285,7.89), layer=70, texttype=16))
write_driver_array.add(gdstk.Label('gnd', (4.31,3.035), layer=70, texttype=16))
write_driver_array.add(gdstk.Label('gnd', (3.735,4.045), layer=70, texttype=16))
write_driver_array.add(gdstk.Label('gnd', (1.31,3.035), layer=70, texttype=16))
write_driver_array.add(gdstk.Label('data_1', (4.195,0.16), layer=68, texttype=16))
write_driver_array.add(gdstk.Label('bl_0', (0.705,9.925), layer=68, texttype=16))
write_driver_array.add(gdstk.Label('en', (3.12,0.54), layer=68, texttype=16))
write_driver_array.add(gdstk.Label('br_1', (3.905,9.925), layer=68, texttype=16))
write_driver_array.add(gdstk.Label('bl_1', (4.915,9.925), layer=68, texttype=16))
write_driver_array.add(gdstk.Label('br_0', (1.715,9.925), layer=68, texttype=16))
write_driver_array.add(gdstk.Label('vdd', (4.34,5.705), layer=70, texttype=16))
write_driver_array.add(gdstk.Label('vdd', (4.24,0.955), layer=70, texttype=16))
write_driver_array.add(gdstk.Label('vdd', (1.38,0.955), layer=70, texttype=16))
write_driver_array.add(gdstk.Label('vdd', (1.28,5.705), layer=70, texttype=16))

port_data = lib.new_cell('port_data')
R(port_data, met1, [(0.33,1.26,0.47,5.03), (2.65,1.26,2.79,5.03), (3.45,1.26,3.59,5.03), (5.77,1.26,5.91,5.03), (6.57,1.26,6.71,5.03), (8.89,1.26,9.03,5.03), (3.45,5.03,3.59,5.89), (5.77,5.03,5.91,5.49), (6.57,5.03,6.71,5.49), (8.89,5.03,9.03,5.89), (4.48,5.42,4.62,5.56), (4.55,5.42,5.84,5.56), (5.77,5.42,5.91,5.56), (6.57,5.42,6.71,5.56), (6.64,5.42,7.31,5.56), (7.24,5.42,7.38,5.56), (4.48,5.49,4.62,6.29), (7.24,5.49,7.38,6.29), (3.45,5.82,3.59,5.96), (3.52,5.82,4.185,5.96), (4.115,5.82,4.255,5.96), (7.605,5.82,7.745,5.96), (7.675,5.82,8.96,5.96), (8.89,5.82,9.03,5.96), (4.115,5.89,4.255,6.29), (7.605,5.89,7.745,6.29), (4.48,11.86,4.62,18.03), (7.24,11.86,7.38,18.03), (4.115,11.92,4.255,18.43), (7.605,11.92,7.745,18.43), (3.64,16.3,3.87,17.57), (7.99,16.3,8.22,17.57), (4.48,17.96,4.62,18.1), (4.55,17.96,4.835,18.1), (4.765,17.96,4.905,18.1), (6.955,17.96,7.095,18.1), (7.025,17.96,7.31,18.1), (7.24,17.96,7.38,18.1), (4.765,18.03,4.905,18.83), (6.955,18.03,7.095,18.83), (3.755,18.36,3.895,18.5), (3.825,18.36,4.185,18.5), (4.115,18.36,4.255,18.5), (7.605,18.36,7.745,18.5), (7.675,18.36,8.035,18.5), (7.965,18.36,8.105,18.5), (3.755,18.43,3.895,18.83), (7.965,18.43,8.105,18.83), (3.12,28.275,9.36,28.415), (4.395,28.585,4.695,28.865), (7.165,28.585,7.465,28.865)])
R(port_data, met3, [(1.91,1.565,2.4,2.055), (3.84,1.565,4.33,2.055), (8.15,1.565,8.64,2.055), (0,4.755,9.36,5.055), (3.12,6.45,9.36,6.75), (5.13,7.115,5.62,7.605), (6.24,7.115,6.73,7.605), (4.72,10.985,5.21,11.475), (6.65,10.985,7.14,11.475), (4.78,15.175,5.27,15.665), (6.59,15.175,7.08,15.665), (4.78,16.785,5.27,17.275), (6.59,16.785,7.08,17.275), (4.21,20.75,4.7,21.24), (7.16,20.75,7.65,21.24), (4.155,22.935,4.645,23.425), (7.215,22.935,7.705,23.425), (4.76,24.595,5.25,25.085), (6.61,24.595,7.1,25.085), (4.185,25.605,4.675,26.095), (7.185,25.605,7.675,26.095), (4.255,27.685,4.745,28.175), (7.115,27.685,7.605,28.175)])
R(port_data, stdcell_id, [(0,0,9.36,28.885)])
R(port_data, boundary, [(0,0,9.36,28.885)])
port_data.add(gdstk.Reference(precharge_array, (0,5.03), x_reflection=True))
port_data.add(gdstk.Reference(sense_amp_array, (3.12,17.57), x_reflection=True))
port_data.add(gdstk.Reference(write_driver_array, (3.12,28.885), x_reflection=True))
port_data.add(gdstk.Label('rbl_bl', (2.72,3.145), layer=68, texttype=16))
port_data.add(gdstk.Label('dout_0', (3.755,16.935), layer=68, texttype=16))
port_data.add(gdstk.Label('p_en_bar', (4.68,4.905), layer=70, texttype=16))
port_data.add(gdstk.Label('rbl_br', (0.4,3.145), layer=68, texttype=16))
port_data.add(gdstk.Label('br_0', (5.84,3.145), layer=68, texttype=16))
port_data.add(gdstk.Label('din_0', (4.545,28.725), layer=68, texttype=16))
port_data.add(gdstk.Label('dout_1', (8.105,16.935), layer=68, texttype=16))
port_data.add(gdstk.Label('vdd', (2.155,1.81), layer=70, texttype=16))
port_data.add(gdstk.Label('vdd', (4.4,23.18), layer=70, texttype=16))
port_data.add(gdstk.Label('vdd', (4.5,27.93), layer=70, texttype=16))
port_data.add(gdstk.Label('vdd', (4.085,1.81), layer=70, texttype=16))
port_data.add(gdstk.Label('vdd', (6.895,11.23), layer=70, texttype=16))
port_data.add(gdstk.Label('vdd', (5.025,15.42), layer=70, texttype=16))
port_data.add(gdstk.Label('vdd', (7.36,27.93), layer=70, texttype=16))
port_data.add(gdstk.Label('vdd', (6.835,15.42), layer=70, texttype=16))
port_data.add(gdstk.Label('vdd', (4.965,11.23), layer=70, texttype=16))
port_data.add(gdstk.Label('vdd', (8.395,1.81), layer=70, texttype=16))
port_data.add(gdstk.Label('vdd', (7.46,23.18), layer=70, texttype=16))
port_data.add(gdstk.Label('w_en', (6.24,28.345), layer=68, texttype=16))
port_data.add(gdstk.Label('bl_0', (3.52,3.145), layer=68, texttype=16))
port_data.add(gdstk.Label('s_en', (6.24,6.6), layer=70, texttype=16))
port_data.add(gdstk.Label('br_1', (6.64,3.145), layer=68, texttype=16))
port_data.add(gdstk.Label('din_1', (7.315,28.725), layer=68, texttype=16))
port_data.add(gdstk.Label('bl_1', (8.96,3.145), layer=68, texttype=16))
port_data.add(gdstk.Label('gnd', (6.835,17.03), layer=70, texttype=16))
port_data.add(gdstk.Label('gnd', (7.43,25.85), layer=70, texttype=16))
port_data.add(gdstk.Label('gnd', (4.43,25.85), layer=70, texttype=16))
port_data.add(gdstk.Label('gnd', (5.025,17.03), layer=70, texttype=16))
port_data.add(gdstk.Label('gnd', (4.455,20.995), layer=70, texttype=16))
port_data.add(gdstk.Label('gnd', (7.405,20.995), layer=70, texttype=16))
port_data.add(gdstk.Label('gnd', (6.485,7.36), layer=70, texttype=16))
port_data.add(gdstk.Label('gnd', (5.375,7.36), layer=70, texttype=16))
port_data.add(gdstk.Label('gnd', (5.005,24.84), layer=70, texttype=16))
port_data.add(gdstk.Label('gnd', (6.855,24.84), layer=70, texttype=16))

lib.write_gds('port_data.gds')
